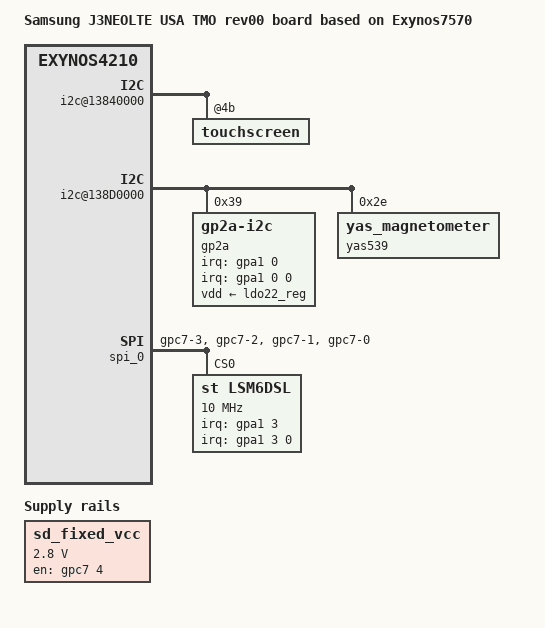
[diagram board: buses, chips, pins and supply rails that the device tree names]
/*
 * SAMSUNG UNIVERSAL7570 board device tree source
 *
 * Copyright (c) 2013 Samsung Electronics Co., Ltd.
 *		http://www.samsung.com
 *
 * This program is free software; you can redistribute it and/or modify
 * it under the terms of the GNU General Public License version 2 as
 * published by the Free Software Foundation.
*/

/dts-v1/;
#include "exynos7570-rmem.dtsi"
#include "exynos7570-j3neoelte_common.dtsi"
#include "modem-ss305ap-pdata.dtsi"
#include "exynos7570-j3top_battery_common.dtsi"
#include "exynos7570-j3neoelte_usa_tmo_gpio_00.dtsi"

/ {
	model = "Samsung J3NEOLTE USA TMO rev00 board based on Exynos7570";
        model_info-chip = <7570>;
        model_info-platform = "android";
        model_info-subtype = "samsung";
        model_info-hw_rev = <0>;
        model_info-hw_rev_end = <255>;
	compatible = "samsung,exynos7570", "samsung,exynos4210";

	pinctrl@139B0000 {
		fm_lna_en: fm-lna-en {
			samsung,pins = "gpd1-0";
			samsung,pin-function = <1>;
			samsung,pin-pud = <0>;
			samsung,pin-val = <0>;
		};
	};

	fm_gpio: fm@14840000 {
		elna_gpio = <&gpd1 0 0x1>; /* FM_LNA_EN */
		pinctrl-names = "default";
		pinctrl-0 = <&fm_lna_en>;
		fm_iclk_aux = <0>;
		fm_tc_on = <0>;
		status = "okay";
	};
	
	i2c@13840000 {
		touchscreen@4b {
			synaptics,firmware_name = "tsp_synaptics/td4100_j3y17.fw";
			synaptics,firmware_name_bl = "tsp_synaptics/td4100_j3y17.fw";
		};
	};

	pinctrl@139E0000 {
		spi0_bus_acc: spi0-bus-acc {
			samsung,pins = "gpc7-3", "gpc7-2", "gpc7-1", "gpc7-0";
			samsung,pin-function = <2>;
			samsung,pin-pud = <3>;
			samsung,pin-drv = <0>;
		};
	};

	i2c@138D0000 {
		status = "okay";
		#address-cells = <1>;
		#size-cells = <0>;
		pinctrl-names = "default";
		pinctrl-0 = <&i2c5_bus>;

		gp2a@39 {
			compatible = "gp2a-i2c";
			reg = <0x39>;
			interrupt-parent = <&gpa1>;
			interrupts = <0 0 0>;
			pinctrl-names = "default";
			pinctrl-0 = <&prox_int>;
			gp2a,vdd-supply = <&ldo22_reg>;
			gp2a,irq-gpio = <&gpa1 0 0x00>;
			gp2a,regulator_divided = <0>;
			gp2a,vdd_always_on = <0>;
			gp2a,vled_ldo = <&gpc2 2 0x1>;
			gp2a,default_high_thd = <400>;
			gp2a,default_low_thd = <340>;
			gp2a,reg_intval = <0x03>;
			gp2a,reg_res_p = <0x20>;
			gp2a,reg_ledctrl = <0x24>;
			gp2a,reg_prst = <0x38>;
			gp2a,default_offset = <20>;
			gp2a,cancel_high_thd = <30>;
			gp2a,cancel_low_thd = <20>;
		};

		yas539@2e {
			compatible = "yas_magnetometer";
			reg = <0x2e>;
			yas,orientation = <5>;
			yas,softiron = <10150 560 160 560 9250 160 160 160 10600>;
			yas,softiron_sign = <2 2 2 2 2 0 2 0 2>;
		};
	};

	spi_0: spi@100C0000 {
		status = "okay";
		#address-cells = <1>;
		#size-cells = <0>;
		pinctrl-names = "default";
		pinctrl-0 = <&spi0_bus_acc>;

		lsm6dsl@0 {
			compatible = "st,lsm6dsl";
			reg = <0>;
			spi-max-frequency = <10000000>;
			spi-cpol;
			spi-cpha;
			pinctrl-names = "default";
			pinctrl-0 = <&acc_int>;
 			interrupt-parent = <&gpa1>;
			interrupts = <3 0 0>;
			st,orientation = <1 0 1 0 1 1 1 1 0>;
			st,drdy-int-pin = <1>;
			st,irq_gpio = <&gpa1 3 0>;

			gpio-controller;
			#gpio-cells = <2>;

			controller-data {
				samsung,spi-feedback-delay = <0>;
				samsung,spi-chip-select-mode = <0>;
			};
		};
	};

	pinctrl@139E0000 {
		dwmmc2_tflash_en: dwmmc2_tflash_en {
			   samsung,pins = "gpc7-4";
			   samsung,pin-function = <0x1>;
			   samsung,pin-val = <1>;
			   samsung,pin-pud = <0>;
			   samsung,pin-drv = <4>;
		};
	};

	dwmmc2@13560000 {
		pinctrl-names = "default",
			"fast-slew-rate-1x",
			"fast-slew-rate-2x",
			"fast-slew-rate-3x",
			"fast-slew-rate-4x";
		pinctrl-0 = <&sd2_clk &sd2_cmd &sd2_bus1 &sd2_bus4
			     &dwmmc2_cd_ext_irq &dwmmc2_tflash_en>;
		pinctrl-1 = <&sd2_clk_fast_slew_rate_1x>;
		pinctrl-2 = <&sd2_clk_fast_slew_rate_2x>;
		pinctrl-3 = <&sd2_clk_fast_slew_rate_3x>;
		pinctrl-4 = <&sd2_clk_fast_slew_rate_4x>;
	};

	sd_fixed_vcc: fixedregulator@1 {
		      compatible = "regulator-fixed";
		      regulator-name = "vmmc";
		      gpio = <&gpc7 4 1>;
		      regulator-min-microvolt = <2800000>;
		      regulator-max-microvolt = <2800000>;
		      regulator-initial-mode = <0>;
		      enable-active-high;
		      regulator-boot-on;
	};
};
